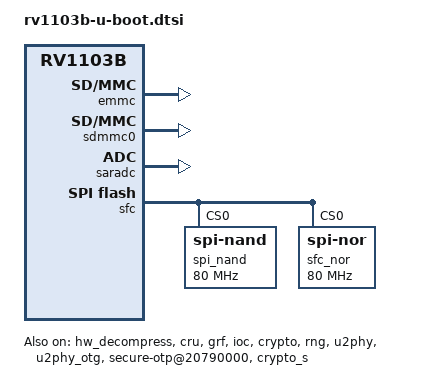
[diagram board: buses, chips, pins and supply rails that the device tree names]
/*
 * (C) Copyright 2024 Rockchip Electronics Co., Ltd
 *
 * SPDX-License-Identifier:     GPL-2.0+
 */

 / {
	aliases {
		mmc1 = &sdmmc0;
		mmc0 = &emmc;
	};

	chosen {
		stdout-path = &uart0;
		u-boot,spl-boot-order = "same-as-spl", &sdmmc0, &spi_nand, &spi_nor, &emmc;
	};

	secure-otp@20790000 {
		compatible = "rockchip,rv1103b-secure-otp";
		reg = <0x20790000 0x10000>;
		secure_conf = <0x20250018>;
		cru_rst_addr = <0x20000a20>;
		mask_addr = <0x209d0000>;
		u-boot,dm-spl;
		status = "okay";
	};

	/*
	 * crypto_s and crypto (crypto_ns) describe the same RV1103B crypto
	 * instance. The driver's bind() only accepts the "secure" node in
	 * SPL and the plain node in U-Boot proper, so both are declared to
	 * let each build phase bind hardware crypto.
	 */
	crypto_s: crypto_s@20680000 {
		compatible = "rockchip,crypto-v4";
		reg = <0x20680000 0x2000>;
		interrupts = <GIC_SPI 47 IRQ_TYPE_LEVEL_HIGH>;
		clocks = <&cru ACLK_CRYPTO>, <&cru HCLK_CRYPTO>,
			 <&cru CLK_CORE_CRYPTO>, <&cru CLK_PKA_CRYPTO>;
		clock-names = "aclk", "hclk", "sclk", "pka";
		assigned-clocks = <&cru CLK_CORE_CRYPTO>, <&cru CLK_PKA_CRYPTO>;
		assigned-clock-rates = <300000000>, <300000000>;
		resets = <&cru SRST_RESETN_CORE_CRYPTO>;
		reset-names = "crypto-rst";
		secure;
		bootph-all;
		status = "okay";
	};
};

&hw_decompress {
	u-boot,dm-spl;
	status = "okay";
};

&emmc {
	u-boot,dm-spl;
	status = "okay";
};

&cru {
	u-boot,dm-spl;
	status = "okay";
};

&grf {
	u-boot,dm-spl;
	status = "okay";
};

&pinctrl {
	u-boot,dm-spl;
	status = "okay";
};

&sdmmc0 {
	u-boot,dm-spl;
	status = "okay";
};

&ioc {
	u-boot,dm-spl;
	status = "okay";
};

&gpio0 {
	u-boot,dm-spl;
	status = "okay";
};

&gpio1 {
	u-boot,dm-pre-reloc;
	status = "okay";
};

&gpio2 {
	u-boot,dm-pre-reloc;
	status = "okay";
};

&crypto {
	u-boot,dm-spl;
	bootph-all;
	status = "okay";
};

&rng {
	u-boot,dm-spl;
	status = "okay";
};

&saradc {
	u-boot,dm-pre-reloc;
	status = "okay";
};

&sfc {
	u-boot,dm-spl;
	status = "okay";

	#address-cells = <1>;
	#size-cells = <0>;
	spi_nand: flash@0 {
		u-boot,dm-spl;
		compatible = "spi-nand";
		reg = <0>;
		spi-tx-bus-width = <1>;
		spi-rx-bus-width = <4>;
		spi-max-frequency = <80000000>;
	};

	spi_nor: flash@1 {
		u-boot,dm-spl;
		compatible = "jedec,spi-nor";
		label = "sfc_nor";
		reg = <0>;
		spi-tx-bus-width = <1>;
		spi-rx-bus-width = <4>;
		spi-max-frequency = <80000000>;
	};
};

&u2phy {
	u-boot,dm-pre-reloc;
	status = "okay";
};

&u2phy_otg {
	u-boot,dm-pre-reloc;
	status = "okay";
};

